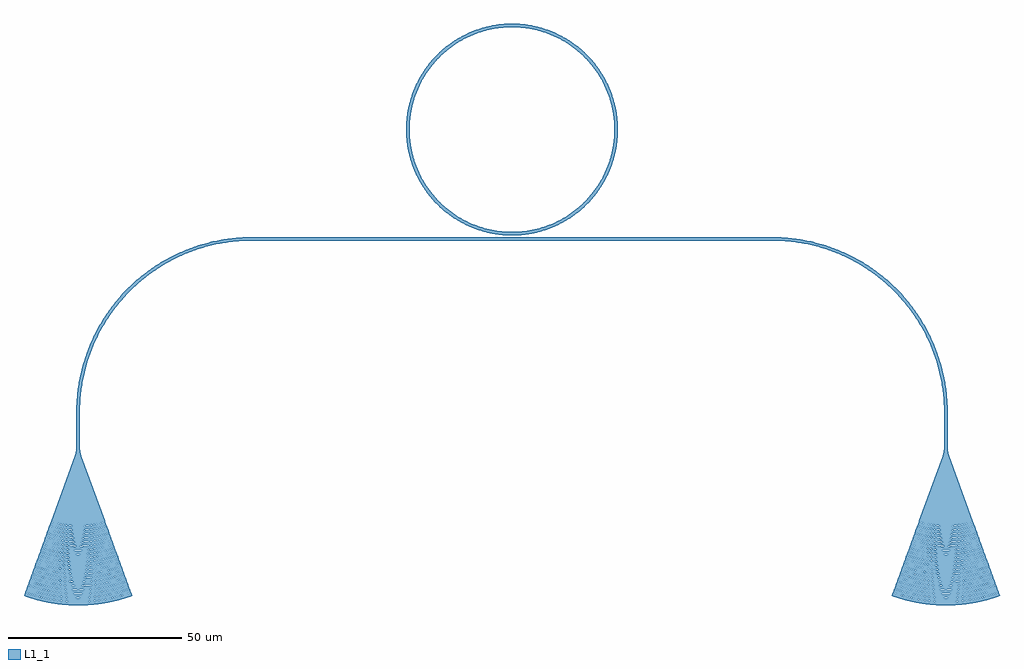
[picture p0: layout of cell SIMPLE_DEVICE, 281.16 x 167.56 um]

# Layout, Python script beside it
import numpy as np
import gdspy
import scipy.io as scio
import Photonics_PDK_v1 as GC

kwargs = {'w_gc': 12, 'w_wg': 0.517}

lib = gdspy.GdsLibrary( precision=1e-10)
ld_fulletch = {"layer": 1, "datatype": 1}
ld_grating = {"layer": 1, "datatype": 1}

# Geometry must be placed in cells.
DEVICES = lib.new_cell("DEVICES")

GC.gc_PC_uniform(lib,'GC_SiO2', a=0.23, D=0.165, d=0.71, period_num=29,w_gc=10, l_taper_a=500,l_grating=37)

lib.write_gds('test2.gds')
